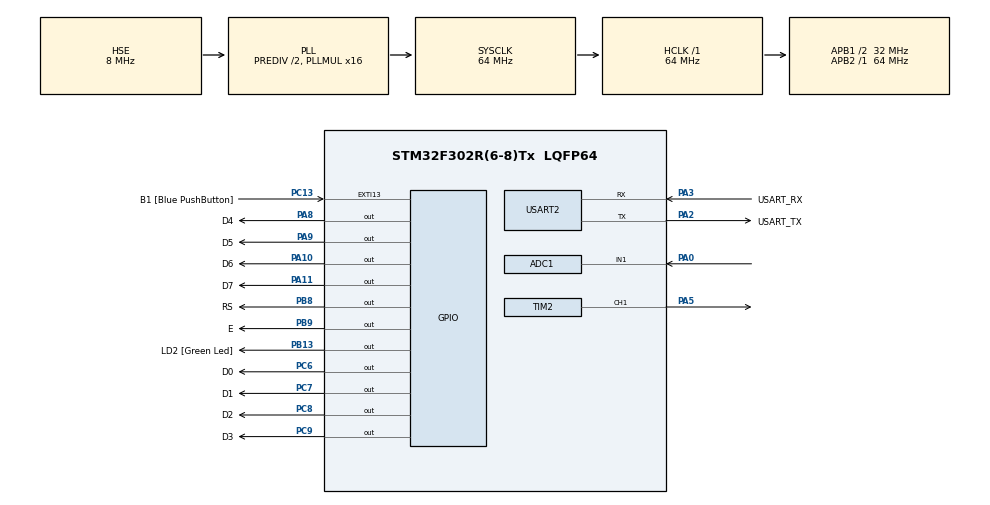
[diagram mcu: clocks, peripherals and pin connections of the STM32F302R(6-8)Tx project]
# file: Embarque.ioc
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ADC1.Channel-0\#ChannelRegularConversion=ADC_CHANNEL_1
ADC1.NbrOfConversionFlag=1
ADC1.Offset-0\#ChannelRegularConversion=0
ADC1.OffsetNumber-0\#ChannelRegularConversion=ADC_OFFSET_NONE
ADC1.Rank-0\#ChannelRegularConversion=1
ADC1.Resolution=ADC_RESOLUTION_6B
ADC1.SamplingTime-0\#ChannelRegularConversion=ADC_SAMPLETIME_1CYCLE_5
ADC1.SubFamily=STM32F302x8
ADC1.master=1
Mcu.Family=STM32F3
Mcu.Name=STM32F302R(6-8)Tx
Mcu.Package=LQFP64
NVIC.PriorityGroup=NVIC_PRIORITYGROUP_0
NVIC.TIM2_IRQn=true\:0\:0\:false\:false\:true\:true
PA0.Mode=IN1-Single-Ended
PA0.Signal=ADC1_IN1
PA10.GPIO_Label=D6
PA10.Signal=GPIO_Output
PA11.GPIO_Label=D7
PA11.Signal=GPIO_Output
PA13.GPIO_Label=TMS
PA13.Mode=Serial_Wire
PA13.Signal=SYS_JTMS-SWDIO
PA14.GPIO_Label=TCK
PA14.Mode=Serial_Wire
PA14.Signal=SYS_JTCK-SWCLK
PA2.GPIO_Label=USART_TX
PA2.GPIO_Mode=GPIO_MODE_AF_PP
PA2.GPIO_PuPd=GPIO_NOPULL
PA2.GPIO_Speed=GPIO_SPEED_FREQ_LOW
PA2.Mode=Asynchronous
PA2.Signal=USART2_TX
PA3.GPIO_Label=USART_RX
PA3.GPIO_Mode=GPIO_MODE_AF_PP
PA3.GPIO_PuPd=GPIO_NOPULL
PA3.GPIO_Speed=GPIO_SPEED_FREQ_LOW
PA3.Mode=Asynchronous
PA3.Signal=USART2_RX
PA5.Signal=S_TIM2_CH1_ETR
PA8.GPIO_Label=D4
PA8.Signal=GPIO_Output
PA9.GPIO_Label=D5
PA9.Signal=GPIO_Output
PB13.GPIO_Label=LD2 [Green Led]
PB13.Signal=GPIO_Output
PB3.GPIO_Label=SWO
PB3.Mode=Trace_Asynchronous_SW
PB3.Signal=SYS_JTDO-TRACESWO
PB8.GPIO_Label=RS
PB8.Signal=GPIO_Output
PB9.GPIO_Label=E
PB9.Signal=GPIO_Output
PC13.GPIO_Label=B1 [Blue PushButton]
PC13.GPIO_ModeDefaultEXTI=GPIO_MODE_IT_FALLING
PC13.Signal=GPXTI13
PC14\ -\ OSC32_IN.Signal=RCC_OSC32_IN
PC15\ -\ OSC32_OUT.Signal=RCC_OSC32_OUT
PC6.GPIO_Label=D0
PC6.Signal=GPIO_Output
PC7.GPIO_Label=D1
PC7.Signal=GPIO_Output
PC8.GPIO_Label=D2
PC8.Signal=GPIO_Output
PC9.GPIO_Label=D3
PC9.Signal=GPIO_Output
PF0-OSC_IN.Mode=HSE-External-Oscillator
PF0-OSC_IN.Signal=RCC_OSC_IN
PF1-OSC_OUT.Mode=HSE-External-Oscillator
PF1-OSC_OUT.Signal=RCC_OSC_OUT
ProjectManager.HeapSize=0x200
ProjectManager.StackSize=0x400
ProjectManager.TargetToolchain=MDK-ARM V5
RCC.AHBFreq_Value=64000000
RCC.APB1CLKDivider=RCC_HCLK_DIV2
RCC.APB1Freq_Value=32000000
RCC.APB1TimFreq_Value=64000000
RCC.APB2Freq_Value=64000000
RCC.APB2TimFreq_Value=64000000
RCC.CortexFreq_Value=64000000
RCC.HCLKFreq_Value=64000000
RCC.HSE_VALUE=8000000
RCC.HSI_VALUE=8000000
RCC.LSE_VALUE=32768
RCC.PLLM=8
RCC.PLLMUL=RCC_PLL_MUL16
RCC.PLLN=336
RCC.PLLP=RCC_PLLP_DIV4
RCC.PLLQ=7
RCC.PLLSourceVirtual=RCC_PLLSOURCE_HSE
RCC.RCC_PLLsource_Clock_Source_FROM_HSE=RCC_HSE_PREDIV_DIV2
RCC.SYSCLKFreq_VALUE=64000000
RCC.SYSCLKSourceVirtual=RCC_SYSCLKSOURCE_PLLCLK
RCC.USBFreq_Value=64000000
SH.S_TIM2_CH1_ETR.0=TIM2_CH1,PWM Generation1 CH1
TIM2.Channel-PWM\ Generation1\ CH1=TIM_CHANNEL_1
TIM2.Period=1000-1
TIM2.Prescaler=1280-1
USART2.VirtualMode-Asynchronous=VM_ASYNC
VP_TIM2_VS_ClockSourceINT.Mode=Internal
board=NUCLEO-F302R8

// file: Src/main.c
/* USER CODE BEGIN Header */
/**
  ******************************************************************************
  * @file           : main.c
  * @brief          : Main program body
  ******************************************************************************
  ** This notice applies to any and all portions of this file
  * that are not between comment pairs USER CODE BEGIN and
  * USER CODE END. Other portions of this file, whether
  * inserted by the user or by software development tools
  * are owned by their respective copyright owners.
  *
  * COPYRIGHT(c) 2019 STMicroelectronics
  *
  * Redistribution and use in source and binary forms, with or without modification,
  * are permitted provided that the following conditions are met:
  *   1. Redistributions of source code must retain the above copyright notice,
  *      this list of conditions and the following disclaimer.
  *   2. Redistributions in binary form must reproduce the above copyright notice,
  *      this list of conditions and the following disclaimer in the documentation
  *      and/or other materials provided with the distribution.
  *   3. Neither the name of STMicroelectronics nor the names of its contributors
  *      may be used to endorse or promote products derived from this software
  *      without specific prior written permission.
  *
  * THIS SOFTWARE IS PROVIDED BY THE COPYRIGHT HOLDERS AND CONTRIBUTORS "AS IS"
  * AND ANY EXPRESS OR IMPLIED WARRANTIES, INCLUDING, BUT NOT LIMITED TO, THE
  * IMPLIED WARRANTIES OF MERCHANTABILITY AND FITNESS FOR A PARTICULAR PURPOSE ARE
  * DISCLAIMED. IN NO EVENT SHALL THE COPYRIGHT HOLDER OR CONTRIBUTORS BE LIABLE
  * FOR ANY DIRECT, INDIRECT, INCIDENTAL, SPECIAL, EXEMPLARY, OR CONSEQUENTIAL
  * DAMAGES (INCLUDING, BUT NOT LIMITED TO, PROCUREMENT OF SUBSTITUTE GOODS OR
  * SERVICES; LOSS OF USE, DATA, OR PROFITS; OR BUSINESS INTERRUPTION) HOWEVER
  * CAUSED AND ON ANY THEORY OF LIABILITY, WHETHER IN CONTRACT, STRICT LIABILITY,
  * OR TORT (INCLUDING NEGLIGENCE OR OTHERWISE) ARISING IN ANY WAY OUT OF THE USE
  * OF THIS SOFTWARE, EVEN IF ADVISED OF THE POSSIBILITY OF SUCH DAMAGE.
  *
  ******************************************************************************
  */
/* USER CODE END Header */

#include "main.h"

/* USER CODE BEGIN Includes */
#include "STM_MY_LCD16X2.h"

/* USER CODE END Includes */

ADC_HandleTypeDef hadc1;

TIM_HandleTypeDef htim2;

UART_HandleTypeDef huart2;

void SystemClock_Config(void);
static void MX_GPIO_Init(void);
static void MX_USART2_UART_Init(void);
static void MX_ADC1_Init(void);
static void MX_TIM2_Init(void);

/* USER CODE BEGIN 0 */
uint32_t val;
uint32_t max = 64;
int a;
/* USER CODE END 0 */

int main(void)
{

  /* MCU Configuration--------------------------------------------------------*/

  /* Reset of all peripherals, Initializes the Flash interface and the Systick. */
  HAL_Init();

  /* Configure the system clock */
  SystemClock_Config();

  /* Initialize all configured peripherals */
  MX_GPIO_Init();
  MX_USART2_UART_Init();
  MX_ADC1_Init();
  MX_TIM2_Init();
  /* USER CODE BEGIN 2 */
	HAL_TIM_PWM_Start(&htim2,TIM_CHANNEL_1);
	LCD1602_Begin8BIT(RS_GPIO_Port,RS_Pin,E_Pin,D0_GPIO_Port,D0_Pin,D1_Pin,D2_Pin,D3_Pin,D4_GPIO_Port,D4_Pin,D5_Pin,D6_Pin,D7_Pin);

  /* USER CODE END 2 */

  /* Infinite loop */
  while (1)
  {

    /* USER CODE BEGIN 3 */
		LCD1602_1stLine();
		LCD1602_print("Temperature");

		HAL_ADC_Start(&hadc1);
		if(HAL_ADC_PollForConversion(&hadc1,5) == HAL_OK)
		{
			val = HAL_ADC_GetValue(&hadc1);

	}
		LCD1602_2ndLine();
		LCD1602_PrintInt(val);
		HAL_Delay(50);
		if(val>max/2)
			{
				a = 0;
				htim2.Instance->CCR1 = 25;  // duty cycle is .5 ms
				HAL_Delay(2000);
		}
		else
			{
				a=1;
				htim2.Instance->CCR1 = 125;  // duty cycle is 2.5 ms
				HAL_Delay(2000);
			}
  }
  /* USER CODE END 3 */
}

void SystemClock_Config(void)
{
  RCC_OscInitTypeDef RCC_OscInitStruct = {0};
  RCC_ClkInitTypeDef RCC_ClkInitStruct = {0};
  RCC_PeriphCLKInitTypeDef PeriphClkInit = {0};

  /**Initializes the CPU, AHB and APB busses clocks
  */
  RCC_OscInitStruct.OscillatorType = RCC_OSCILLATORTYPE_HSE;
  RCC_OscInitStruct.HSEState = RCC_HSE_ON;
  RCC_OscInitStruct.HSEPredivValue = RCC_HSE_PREDIV_DIV2;
  RCC_OscInitStruct.HSIState = RCC_HSI_ON;
  RCC_OscInitStruct.PLL.PLLState = RCC_PLL_ON;
  RCC_OscInitStruct.PLL.PLLSource = RCC_PLLSOURCE_HSE;
  RCC_OscInitStruct.PLL.PLLMUL = RCC_PLL_MUL16;
  if (HAL_RCC_OscConfig(&RCC_OscInitStruct) != HAL_OK)
  {
    Error_Handler();
  }
  /**Initializes the CPU, AHB and APB busses clocks
  */
  RCC_ClkInitStruct.ClockType = RCC_CLOCKTYPE_HCLK|RCC_CLOCKTYPE_SYSCLK
                              |RCC_CLOCKTYPE_PCLK1|RCC_CLOCKTYPE_PCLK2;
  RCC_ClkInitStruct.SYSCLKSource = RCC_SYSCLKSOURCE_PLLCLK;
  RCC_ClkInitStruct.AHBCLKDivider = RCC_SYSCLK_DIV1;
  RCC_ClkInitStruct.APB1CLKDivider = RCC_HCLK_DIV2;
  RCC_ClkInitStruct.APB2CLKDivider = RCC_HCLK_DIV1;

  if (HAL_RCC_ClockConfig(&RCC_ClkInitStruct, FLASH_LATENCY_2) != HAL_OK)
  {
    Error_Handler();
  }
  PeriphClkInit.PeriphClockSelection = RCC_PERIPHCLK_ADC1;
  PeriphClkInit.Adc1ClockSelection = RCC_ADC1PLLCLK_DIV1;

  if (HAL_RCCEx_PeriphCLKConfig(&PeriphClkInit) != HAL_OK)
  {
    Error_Handler();
  }
}

static void MX_ADC1_Init(void)
{

  ADC_ChannelConfTypeDef sConfig = {0};

  /**Common config
  */
  hadc1.Instance = ADC1;
  hadc1.Init.ClockPrescaler = ADC_CLOCK_ASYNC_DIV1;
  hadc1.Init.Resolution = ADC_RESOLUTION_6B;
  hadc1.Init.ScanConvMode = ADC_SCAN_DISABLE;
  hadc1.Init.ContinuousConvMode = DISABLE;
  hadc1.Init.DiscontinuousConvMode = DISABLE;
  hadc1.Init.ExternalTrigConvEdge = ADC_EXTERNALTRIGCONVEDGE_NONE;
  hadc1.Init.ExternalTrigConv = ADC_SOFTWARE_START;
  hadc1.Init.DataAlign = ADC_DATAALIGN_RIGHT;
  hadc1.Init.NbrOfConversion = 1;
  hadc1.Init.DMAContinuousRequests = DISABLE;
  hadc1.Init.EOCSelection = ADC_EOC_SINGLE_CONV;
  hadc1.Init.LowPowerAutoWait = DISABLE;
  hadc1.Init.Overrun = ADC_OVR_DATA_OVERWRITTEN;
  if (HAL_ADC_Init(&hadc1) != HAL_OK)
  {
    Error_Handler();
  }
  /**Configure Regular Channel
  */
  sConfig.Channel = ADC_CHANNEL_1;
  sConfig.Rank = ADC_REGULAR_RANK_1;
  sConfig.SingleDiff = ADC_SINGLE_ENDED;
  sConfig.SamplingTime = ADC_SAMPLETIME_1CYCLE_5;
  sConfig.OffsetNumber = ADC_OFFSET_NONE;
  sConfig.Offset = 0;
  if (HAL_ADC_ConfigChannel(&hadc1, &sConfig) != HAL_OK)
  {
    Error_Handler();
  }

}

static void MX_TIM2_Init(void)
{

  TIM_ClockConfigTypeDef sClockSourceConfig = {0};
  TIM_MasterConfigTypeDef sMasterConfig = {0};
  TIM_OC_InitTypeDef sConfigOC = {0};

  htim2.Instance = TIM2;
  htim2.Init.Prescaler = 1280-1;
  htim2.Init.CounterMode = TIM_COUNTERMODE_UP;
  htim2.Init.Period = 1000-1;
  htim2.Init.ClockDivision = TIM_CLOCKDIVISION_DIV1;
  htim2.Init.AutoReloadPreload = TIM_AUTORELOAD_PRELOAD_DISABLE;
  if (HAL_TIM_Base_Init(&htim2) != HAL_OK)
  {
    Error_Handler();
  }
  sClockSourceConfig.ClockSource = TIM_CLOCKSOURCE_INTERNAL;
  if (HAL_TIM_ConfigClockSource(&htim2, &sClockSourceConfig) != HAL_OK)
  {
    Error_Handler();
  }
  if (HAL_TIM_PWM_Init(&htim2) != HAL_OK)
  {
    Error_Handler();
  }
  sMasterConfig.MasterOutputTrigger = TIM_TRGO_RESET;
  sMasterConfig.MasterSlaveMode = TIM_MASTERSLAVEMODE_DISABLE;
  if (HAL_TIMEx_MasterConfigSynchronization(&htim2, &sMasterConfig) != HAL_OK)
  {
    Error_Handler();
  }
  sConfigOC.OCMode = TIM_OCMODE_PWM1;
  sConfigOC.Pulse = 0;
  sConfigOC.OCPolarity = TIM_OCPOLARITY_HIGH;
  sConfigOC.OCFastMode = TIM_OCFAST_DISABLE;
  if (HAL_TIM_PWM_ConfigChannel(&htim2, &sConfigOC, TIM_CHANNEL_1) != HAL_OK)
  {
    Error_Handler();
  }
  HAL_TIM_MspPostInit(&htim2);

}

static void MX_USART2_UART_Init(void)
{

  huart2.Instance = USART2;
  huart2.Init.BaudRate = 38400;
  huart2.Init.WordLength = UART_WORDLENGTH_8B;
  huart2.Init.StopBits = UART_STOPBITS_1;
  huart2.Init.Parity = UART_PARITY_NONE;
  huart2.Init.Mode = UART_MODE_TX_RX;
  huart2.Init.HwFlowCtl = UART_HWCONTROL_NONE;
  huart2.Init.OverSampling = UART_OVERSAMPLING_16;
  huart2.Init.OneBitSampling = UART_ONE_BIT_SAMPLE_DISABLE;
  huart2.AdvancedInit.AdvFeatureInit = UART_ADVFEATURE_NO_INIT;
  if (HAL_UART_Init(&huart2) != HAL_OK)
  {
    Error_Handler();
  }

}

static void MX_GPIO_Init(void)
{
  GPIO_InitTypeDef GPIO_InitStruct = {0};

  /* GPIO Ports Clock Enable */
  __HAL_RCC_GPIOC_CLK_ENABLE();
  __HAL_RCC_GPIOF_CLK_ENABLE();
  __HAL_RCC_GPIOA_CLK_ENABLE();
  __HAL_RCC_GPIOB_CLK_ENABLE();

  /*Configure GPIO pin Output Level */
  HAL_GPIO_WritePin(GPIOB, LD2_Pin|RS_Pin|E_Pin, GPIO_PIN_RESET);

  /*Configure GPIO pin Output Level */
  HAL_GPIO_WritePin(GPIOC, D0_Pin|D1_Pin|D2_Pin|D3_Pin, GPIO_PIN_RESET);

  /*Configure GPIO pin Output Level */
  HAL_GPIO_WritePin(GPIOA, D4_Pin|D5_Pin|D6_Pin|D7_Pin, GPIO_PIN_RESET);

  /*Configure GPIO pin : B1_Pin */
  GPIO_InitStruct.Pin = B1_Pin;
  GPIO_InitStruct.Mode = GPIO_MODE_IT_FALLING;
  GPIO_InitStruct.Pull = GPIO_NOPULL;
  HAL_GPIO_Init(B1_GPIO_Port, &GPIO_InitStruct);

  /*Configure GPIO pins : LD2_Pin RS_Pin E_Pin */
  GPIO_InitStruct.Pin = LD2_Pin|RS_Pin|E_Pin;
  GPIO_InitStruct.Mode = GPIO_MODE_OUTPUT_PP;
  GPIO_InitStruct.Pull = GPIO_NOPULL;
  GPIO_InitStruct.Speed = GPIO_SPEED_FREQ_LOW;
  HAL_GPIO_Init(GPIOB, &GPIO_InitStruct);

  /*Configure GPIO pins : D0_Pin D1_Pin D2_Pin D3_Pin */
  GPIO_InitStruct.Pin = D0_Pin|D1_Pin|D2_Pin|D3_Pin;
  GPIO_InitStruct.Mode = GPIO_MODE_OUTPUT_PP;
  GPIO_InitStruct.Pull = GPIO_NOPULL;
  GPIO_InitStruct.Speed = GPIO_SPEED_FREQ_LOW;
  HAL_GPIO_Init(GPIOC, &GPIO_InitStruct);

  /*Configure GPIO pins : D4_Pin D5_Pin D6_Pin D7_Pin */
  GPIO_InitStruct.Pin = D4_Pin|D5_Pin|D6_Pin|D7_Pin;
  GPIO_InitStruct.Mode = GPIO_MODE_OUTPUT_PP;
  GPIO_InitStruct.Pull = GPIO_NOPULL;
  GPIO_InitStruct.Speed = GPIO_SPEED_FREQ_LOW;
  HAL_GPIO_Init(GPIOA, &GPIO_InitStruct);

}

void Error_Handler(void)
{
}

/************************ (C) COPYRIGHT STMicroelectronics *****END OF FILE****/
